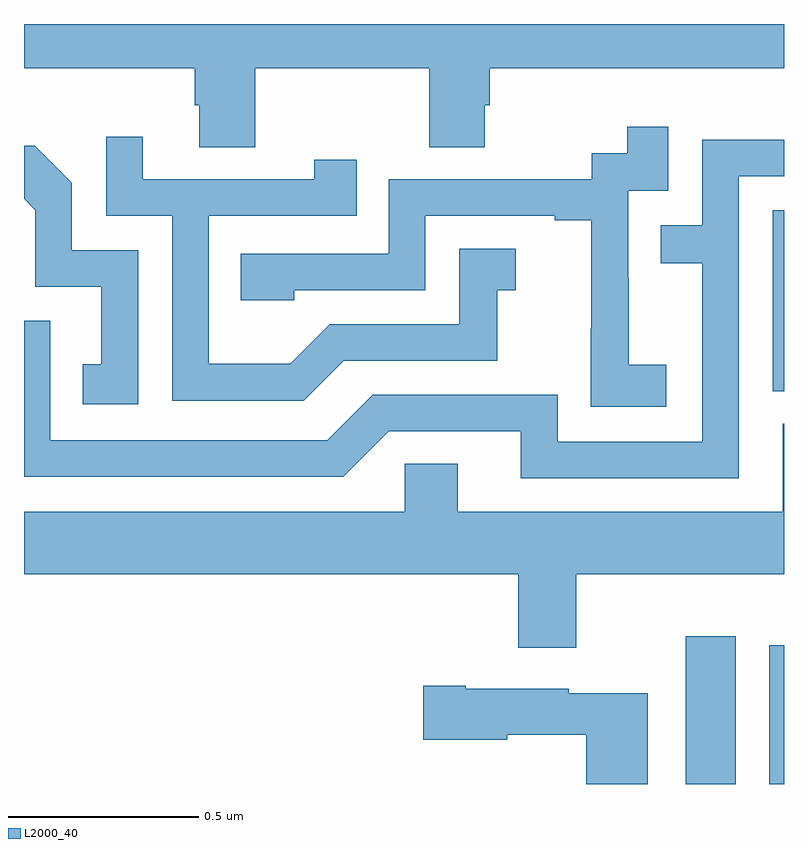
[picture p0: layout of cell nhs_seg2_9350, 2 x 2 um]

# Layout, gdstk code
import gdstk
lib = gdstk.Library(unit=1e-6, precision=1e-09)
def R(c, l, rs):  # rectangles x0, y0, x1, y1
    for r in rs: c.add(gdstk.rectangle(r[:2], r[2:], *l))
def P(c, l, *ps):  # polygons
    for p in ps: c.add(gdstk.Polygon(p, *l))
L2000_40 = (2000, 40)

nhs_seg2_9350 = lib.new_cell('nhs_seg2_9350')
R(nhs_seg2_9350, L2000_40, [(229.742,597.8,229.873,598.189), (229.961,597.8,230,598.165), (229.971,598.833,230,599.31)])
P(nhs_seg2_9350, L2000_40, [(228.609,599.684),(229.066,599.684),(229.066,599.476),(229.213,599.476),(229.213,599.586),(229.226,599.586),(229.226,599.684),(230,599.684),(230,599.8),(228,599.8),(228,599.684),(228.449,599.684),(228.449,599.586),(228.461,599.586),(228.461,599.476),(228.609,599.476)],
  [(229.69,598.903),(229.592,598.903),(229.592,599.132),(229.59,599.132),(229.59,599.361),(229.695,599.361),(229.695,599.53),(229.587,599.53),(229.587,599.46),(229.494,599.46),(229.494,599.391),(228.96,599.391),(228.96,599.196),(228.571,599.196),(228.571,599.073),(228.711,599.073),(228.711,599.1),(229.056,599.1),(229.056,599.295),(229.397,599.295),(229.397,599.283),(229.493,599.283),(229.493,598.999),(229.492,598.999),(229.492,598.793),(229.69,598.793)],
  [(228.841,598.914),(229.245,598.914),(229.245,599.099),(229.294,599.099),(229.294,599.209),(229.146,599.209),(229.146,599.01),(228.804,599.01),(228.7,598.906),(228.486,598.906),(228.486,599.295),(228.875,599.295),(228.875,599.443),(228.764,599.443),(228.764,599.391),(228.313,599.391),(228.313,599.503),(228.216,599.503),(228.216,599.295),(228.39,599.295),(228.39,598.809),(228.736,598.809)],
  [(229.881,599.4),(230,599.4),(230,599.496),(229.785,599.496),(229.785,599.271),(229.675,599.271),(229.675,599.17),(229.785,599.17),(229.785,598.701),(229.404,598.701),(229.404,598.824),(228.918,598.824),(228.798,598.704),(228.069,598.704),(228.069,599.019),(228,599.019),(228,598.608),(228.84,598.608),(228.96,598.728),(229.307,598.728),(229.307,598.605),(229.881,598.605)],
  [(228.3,599.205),(228.126,599.205),(228.126,599.382),(228.028,599.48),(228,599.48),(228,599.34),(228.03,599.31),(228.03,599.109),(228.203,599.109),(228.203,598.905),(228.154,598.905),(228.154,598.8),(228.3,598.8)],
  [(229.453,598.352),(230,598.352),(230,598.748),(229.997,598.748),(229.997,598.516),(229.141,598.516),(229.141,598.643),(229.002,598.643),(229.002,598.516),(228,598.516),(228,598.352),(229.301,598.352),(229.301,598.158),(229.453,598.158)],
  [(229.642,598.039),(229.434,598.039),(229.434,598.051),(229.162,598.051),(229.162,598.059),(229.05,598.059),(229.05,597.917),(229.272,597.917),(229.272,597.929),(229.48,597.929),(229.48,597.8),(229.642,597.8)])

lib.write_gds('nhs_seg2_9350.gds')
